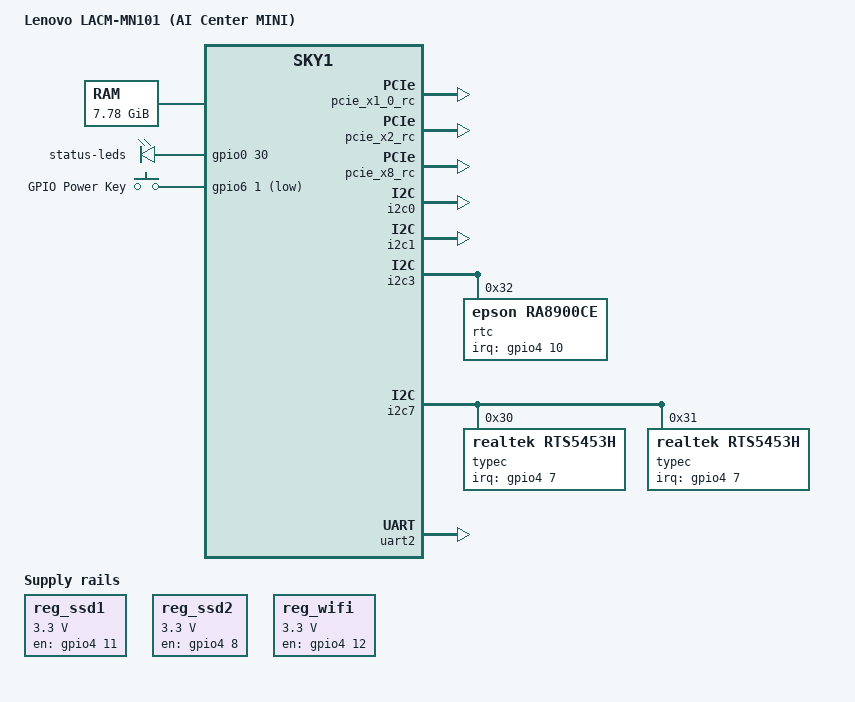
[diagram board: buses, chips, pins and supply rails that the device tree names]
// SPDX-License-Identifier: (GPL-2.0-only OR BSD-2-Clause)
/*
 * Lenovo LACM-MN101 "AI Center MINI" - CIX Sky1 (CD8180)
 *
 * Reconstructed from the firmware ACPI tables (DSDT, SSDT1, SSDT2) and from
 * the running system.  See ../acpi-to-dt-mapping.md for the source of every
 * node.  The ACPI HID of each device is given in a comment.
 */

/dts-v1/;

#include "sky1.dtsi"
#include "sky1-pinfunc.h"
#include <dt-bindings/gpio/gpio.h>
#include <dt-bindings/input/linux-event-codes.h>

/ {
	model = "Lenovo LACM-MN101 (AI Center MINI)";
	compatible = "lenovo,lacm-mn101", "cix,sky1";

	aliases {
		serial2 = &uart2;
	};

	chosen {
		stdout-path = &uart2;
	};

	/*
	 * Ranges as reported by /proc/iomem.  Firmware reserves 2 GB of the
	 * LPDDR5, so MemTotal is smaller than the address space below.
	 */
	memory@100000000 {
		device_type = "memory";
		reg = <0x0 0x84400000 0x0 0x00200000>,
		      <0x0 0x85000000 0x0 0x01000000>,
		      <0x0 0x86000000 0x0 0x1a000000>,
		      <0x0 0xa8000000 0x0 0x58000000>,
		      <0x1 0x00000000 0x1 0x7e910000>;
	};

	reserved-memory {
		#address-cells = <2>;
		#size-cells = <2>;
		ranges;

		/* ACPI RAOP, _HID PRP0001, compatible "ramoops". */
		ramoops@83d00000 {
			compatible = "ramoops";
			reg = <0x0 0x83d00000 0x0 0x000a0000>;
			record-size = <0x00040000>;
			console-size = <0x00040000>;
			pmsg-size = <0x1000>;
		};

		linux,cma {
			compatible = "shared-dma-pool";
			reusable;
			size = <0x0 0x28000000>;
			linux,cma-default;
		};
	};

	/* ACPI LED1, _HID PRP0001, compatible "gpio-leds". */
	leds {
		compatible = "gpio-leds";

		led-status {
			label = "status-leds";
			gpios = <&gpio0 30 GPIO_ACTIVE_HIGH>;
			linux,default-trigger = "heartbeat";
		};
	};

	/* ACPI PKEY, _HID PRP0001, compatible "gpio-keys". */
	keys {
		compatible = "gpio-keys";

		key-power {
			label = "GPIO Power Key";
			gpios = <&gpio6 1 GPIO_ACTIVE_LOW>;
			linux,code = <KEY_POWER>;
		};
	};

	/* ACPI PVC0/PVC1/PVC4, _HID PRP0001, compatible "regulator-fixed". */
	reg_ssd1: regulator-ssd1 {
		compatible = "regulator-fixed";
		regulator-name = "ssd1_power";
		regulator-min-microvolt = <3300000>;
		regulator-max-microvolt = <3300000>;
		gpios = <&gpio4 11 GPIO_ACTIVE_HIGH>;
		enable-active-high;
		regulator-pull-down;
		off-on-delay-us = <15000>;
	};

	reg_ssd2: regulator-ssd2 {
		compatible = "regulator-fixed";
		regulator-name = "ssd2_power";
		regulator-min-microvolt = <3300000>;
		regulator-max-microvolt = <3300000>;
		gpios = <&gpio4 8 GPIO_ACTIVE_HIGH>;
		enable-active-high;
		regulator-pull-down;
		off-on-delay-us = <15000>;
	};

	reg_wifi: regulator-wifi {
		compatible = "regulator-fixed";
		regulator-name = "wifi_vbat";
		regulator-min-microvolt = <3300000>;
		regulator-max-microvolt = <3300000>;
		gpios = <&gpio4 12 GPIO_ACTIVE_HIGH>;
		enable-active-high;
	};
};

/* SoC nodes that are not described by sky1.dtsi yet. */

&pcie_x1_0_rc {
	/* ACPI PCI4, MMIO 0x30000000.  Bus 00-2f: RTL8852BE WiFi at 01:00.0. */
	status = "okay";
};

&pcie_x2_rc {
	/* ACPI PCI2, MMIO 0x40000000.  Bus 60-8f: RTL8125 2.5GbE at 61:00.0. */
	status = "okay";
};

&pcie_x8_rc {
	/* ACPI PCI0, MMIO 0x60000000.  Bus c0-ff: MAXIO MAP1202 NVMe at c1:00.0. */
	status = "okay";
};

/* ACPI I2C0, _HID CIXH200B, _UID 0.  Camera connector. */
&i2c0 {
	#address-cells = <1>;
	#size-cells = <0>;
	status = "okay";

	/* DSDT/SSDT1 _HID CIXH3024, camera sensor.  No sensor answers. */
	camera@34 {
		reg = <0x34>;
		status = "disabled";
	};

	/* DSDT/SSDT1 _HID CIXH3023, VCM actuator. */
	vcm@40 {
		reg = <0x40>;
		status = "disabled";
	};
};

/* ACPI I2C1, _HID CIXH200B, _UID 1.  Camera connector. */
&i2c1 {
	#address-cells = <1>;
	#size-cells = <0>;
	status = "okay";

	camera@36 {
		reg = <0x36>;
		status = "disabled";
	};

	camera@38 {
		reg = <0x38>;
		status = "disabled";
	};
};

/*
 * ACPI I2C2, _HID CIXH200B, _UID 2.  The firmware describes a Realtek
 * RTL5682 audio codec here, but the controller is disabled on this SKU:
 * no I2C bus is created at 0x04030000 and no ALSA card is present.
 */
&i2c2 {
	#address-cells = <1>;
	#size-cells = <0>;
	status = "disabled";

	codec@1a {
		compatible = "realtek,rt5682i";
		reg = <0x1a>;
		interrupt-parent = <&gpio3>;
		interrupts = <10 IRQ_TYPE_LEVEL_LOW>;
		realtek,dmic1-data-pin = <1>;
		realtek,dmic-clk-pin = <1>;
		realtek,dmic-clk-rate-hz = <2048000>;
		realtek,jd-src = <1>;
		status = "disabled";
	};
};

/* ACPI I2C3, _HID CIXH200B, _UID 3.  Epson RTC. */
&i2c3 {
	#address-cells = <1>;
	#size-cells = <0>;
	status = "okay";

	/* SSDT1 RTC0, _HID RX008900. */
	rtc@32 {
		compatible = "epson,ra8900ce", "rtc,rx8900";
		reg = <0x32>;
		interrupt-parent = <&gpio4>;
		interrupts = <10 IRQ_TYPE_LEVEL_LOW>;
	};
};

/* ACPI I2C7, _HID CIXH200B, _UID 7.  Two USB Type-C PD controllers. */
&i2c7 {
	#address-cells = <1>;
	#size-cells = <0>;
	status = "okay";

	/* SSDT1 PD00/PD01, _HID CIXH200D, Realtek RTS5453H. */
	typec@30 {
		compatible = "realtek,rts5453h";
		reg = <0x30>;
		interrupt-parent = <&gpio4>;
		interrupts = <7 IRQ_TYPE_LEVEL_LOW>;
		connector {
			compatible = "usb-c-connector";
			data-role = "host";
			power-role = "source";
			try-power-role = "source";
		};
	};

	typec@31 {
		compatible = "realtek,rts5453h";
		reg = <0x31>;
		interrupt-parent = <&gpio4>;
		interrupts = <7 IRQ_TYPE_LEVEL_LOW>;
		connector {
			compatible = "usb-c-connector";
			data-role = "host";
			power-role = "source";
			try-power-role = "source";
		};
	};
};

/*
 * ACPI SPI0, _HID CIXH2001.  The firmware declares two SPT0002 touch
 * panels.  No spidev node exists on this SKU, so the bus stays disabled.
 */
&spi0 {
	#address-cells = <1>;
	#size-cells = <0>;
	status = "disabled";

	touchpanel@0 {
		reg = <0>;
		status = "disabled";
	};
};

/* UART2 is the debug port from ACPI DBG2 and the firmware console. */
&uart2 {
	status = "okay";
};

/*
 * MUX0/MUX1 in ACPI are the two pin controllers, _HID CIXHA016/CIXHA017.
 * sky1.dtsi names them "cix,sky1-pinctrl"; the CIX vendor kernel uses
 * "cix,sky1-iomuxc".  List both so either driver probes.
 */
&iomuxc {
	compatible = "cix,sky1-iomuxc", "cix,sky1-pinctrl";
};

&iomuxc_s5 {
	compatible = "cix,sky1-iomuxc-s5", "cix,sky1-pinctrl-s5";
};

/*
 * GPIO controllers.  Addresses, interrupt lines and pin counts come from
 * DSDT (GPI0 _HID CIXH1002, GPI1-GPI6 _HID CIXH1003).  sky1.dtsi does not
 * describe them yet.  The "cix,sky1-gpio" binding is the vendor one.
 */
&{/soc@0} {
	gpio0: gpio@4120000 {
		compatible = "cix,sky1-gpio";
		reg = <0x0 0x04120000 0x0 0x10000>;
		interrupts = <GIC_SPI 304 IRQ_TYPE_LEVEL_HIGH 0>;
		gpio-controller;
		#gpio-cells = <2>;
		interrupt-controller;
		#interrupt-cells = <2>;
		ngpios = <32>;
	};

	gpio1: gpio@4130000 {
		compatible = "cix,sky1-gpio";
		reg = <0x0 0x04130000 0x0 0x10000>;
		interrupts = <GIC_SPI 305 IRQ_TYPE_LEVEL_HIGH 0>;
		gpio-controller;
		#gpio-cells = <2>;
		interrupt-controller;
		#interrupt-cells = <2>;
		ngpios = <32>;
	};

	gpio2: gpio@4140000 {
		compatible = "cix,sky1-gpio";
		reg = <0x0 0x04140000 0x0 0x10000>;
		interrupts = <GIC_SPI 306 IRQ_TYPE_LEVEL_HIGH 0>;
		gpio-controller;
		#gpio-cells = <2>;
		interrupt-controller;
		#interrupt-cells = <2>;
		ngpios = <32>;
	};

	gpio3: gpio@4150000 {
		compatible = "cix,sky1-gpio";
		reg = <0x0 0x04150000 0x0 0x10000>;
		interrupts = <GIC_SPI 307 IRQ_TYPE_LEVEL_HIGH 0>;
		gpio-controller;
		#gpio-cells = <2>;
		interrupt-controller;
		#interrupt-cells = <2>;
		ngpios = <32>;
	};

	/* Always-on domain (ACPI "s5" pads). */
	gpio4: gpio@16004000 {
		compatible = "cix,sky1-gpio";
		reg = <0x0 0x16004000 0x0 0x1000>;
		interrupts = <GIC_SPI 372 IRQ_TYPE_LEVEL_HIGH 0>;
		gpio-controller;
		#gpio-cells = <2>;
		interrupt-controller;
		#interrupt-cells = <2>;
		ngpios = <32>;
	};

	gpio5: gpio@16005000 {
		compatible = "cix,sky1-gpio";
		reg = <0x0 0x16005000 0x0 0x1000>;
		interrupts = <GIC_SPI 373 IRQ_TYPE_LEVEL_HIGH 0>;
		gpio-controller;
		#gpio-cells = <2>;
		interrupt-controller;
		#interrupt-cells = <2>;
		ngpios = <32>;
	};

	gpio6: gpio@16006000 {
		compatible = "cix,sky1-gpio";
		reg = <0x0 0x16006000 0x0 0x1000>;
		interrupts = <GIC_SPI 374 IRQ_TYPE_LEVEL_HIGH 0>;
		gpio-controller;
		#gpio-cells = <2>;
		interrupt-controller;
		#interrupt-cells = <2>;
		ngpios = <32>;
	};
};
